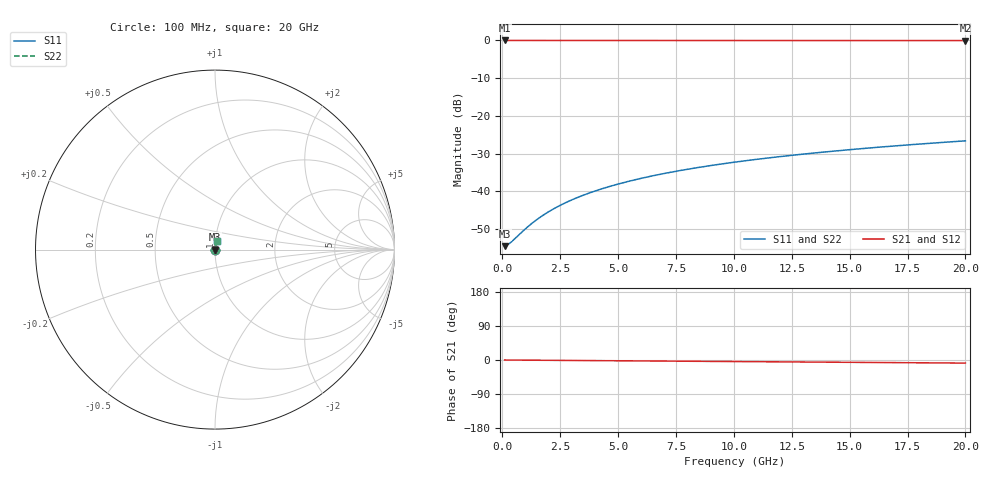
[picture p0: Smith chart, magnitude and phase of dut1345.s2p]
! Touchstone file exported from HFSS 2026.1.0
!  File:  C:/ffzhzh/LocalFiles/Ansys_Project_Files/temp_train_TSV_1345_1783195679_51560.aedt
!  Generated:  04:10:16 AM Jul  5, 2026
!  Design:  TSV
!  Project:  temp_train_TSV_1345_1783195679_51560
! Variables:
!  h_bsmrdl = 2um
!  h_ox = 20um
!  h_rdl = 5um
!  h_sub = 83.57um
!  h_tmrdl = 5um
!  h_tsv = 83.57um
!  h_via = 3um
!  l_bsmrdl = 300um
!  l_sub = 404.54um
!  l_tmrdl = 200um
!  m_sub = 200um
!  pitch = 15.42um
!  r_tsv = 2.27um
!  s_tmrdl = 10um
!  w_bsmrdl = 18um
!  w_sub = 500um
!  w_tmrdl = 12um
!  x_tsv_center1 = 206um
!  x_tsv_center2 = 524um
!  x_tsv_center3 = 736um
!  x_tsv_center4 = 1054um
!  x_tsv_center5 = 1266um
!  x_tsv_center6 = 1584um
# GHz S MA R 50.000000
! Terminal data exported
! Port[1] = TSV1_1_T1
! Port[2] = TSV1_1_T2
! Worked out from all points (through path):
!   200 points, 100 MHz to 20 GHz, reference 50 ohm
!   highest |S21| = -0.02 dB at 100 MHz (marker M1); lowest = 0.0 dB at 20 GHz (marker M2)
!   group delay of S21, straight-line fit = 1.13 ps
!   lowest |S11| = -54.5 dB at 100 MHz (marker M3), VSWR 1.00, Z = 50.2 + j0.0262 ohm
!   |S11| at or under -10 dB: start of sweep to end of sweep
!   |S22| runs from -54.5 to -26.6 dB; largest |S21 - S12| = 7e-15
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0.1  0.001882 8.0  0.9981 -0.0  0.9981 -0.0  0.001882 8.0
! Gamma 0 0 0 0
! Port Impedance 50 0 50 0
0.2  0.001941 15.6  0.9981 -0.1  0.9981 -0.1  0.001941 15.6
0.3  0.002035 22.5  0.9981 -0.1  0.9981 -0.1  0.002035 22.5
0.5  0.002298 34.0  0.9981 -0.2  0.9981 -0.2  0.002298 34.0
0.9  0.002998 49.3  0.9981 -0.4  0.9981 -0.4  0.002998 49.3
1.2  0.003604 56.4  0.998 -0.5  0.998 -0.5  0.003604 56.4
1.5  0.004248 61.5  0.998 -0.6  0.998 -0.6  0.004248 61.5
1.8  0.004918 65.2  0.998 -0.7  0.998 -0.7  0.004918 65.2
2.2  0.005835 68.7  0.998 -0.9  0.998 -0.9  0.005835 68.7
2.6  0.006771 71.2  0.9979 -1.1  0.9979 -1.1  0.006771 71.2
3  0.007717 73.0  0.9979 -1.2  0.9979 -1.2  0.007717 73.0
3.5  0.008909 74.7  0.9978 -1.5  0.9978 -1.5  0.008909 74.7
4.2  0.01059 76.2  0.9977 -1.7  0.9977 -1.7  0.01059 76.2
5  0.01251 77.3  0.9976 -2.1  0.9976 -2.1  0.01251 77.3
5.9  0.01466 78.1  0.9975 -2.4  0.9975 -2.4  0.01466 78.1
6.8  0.01681 78.5  0.9973 -2.8  0.9973 -2.8  0.01681 78.5
8.3  0.02035 78.8  0.997 -3.4  0.997 -3.4  0.02035 78.8
10.1  0.02455 78.7  0.9966 -4.2  0.9966 -4.2  0.02455 78.7
11.7  0.02824 78.4  0.9963 -4.8  0.9963 -4.8  0.02824 78.4
13.4  0.0321 78.0  0.9959 -5.5  0.9959 -5.5  0.0321 78.0
16.7  0.03948 77.2  0.9951 -6.8  0.9951 -6.8  0.03948 77.2
20  0.04672 76.2  0.9943 -8.1  0.9943 -8.1  0.04672 76.2
